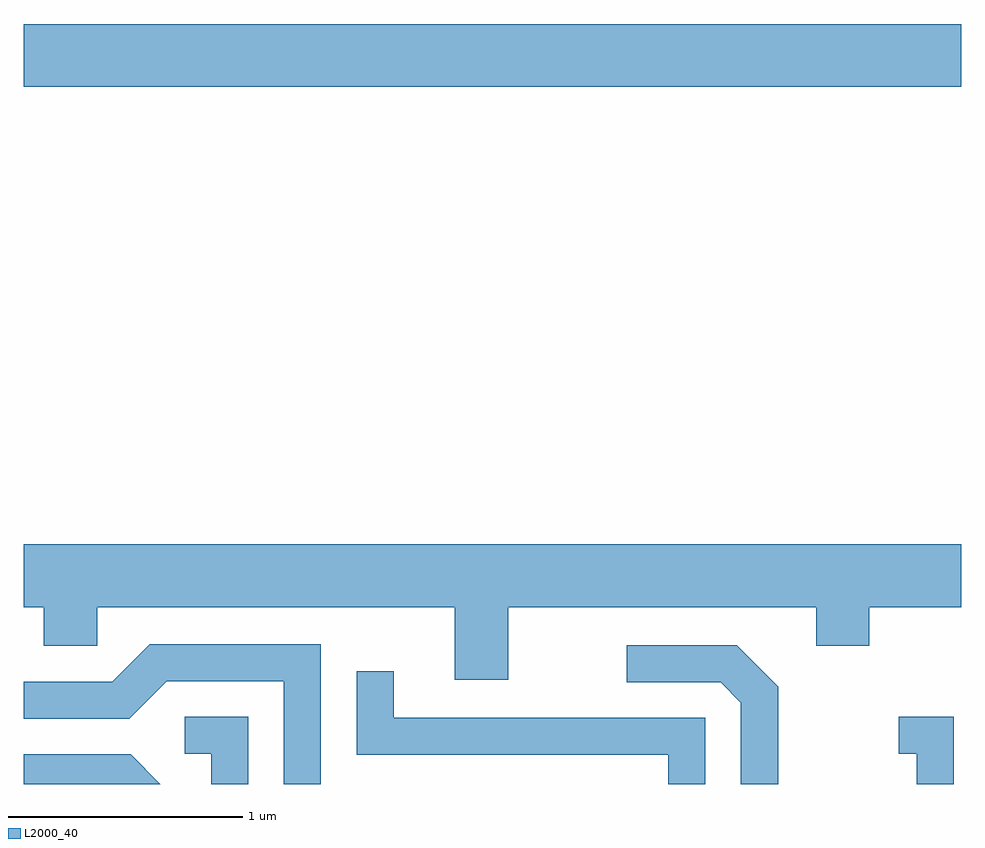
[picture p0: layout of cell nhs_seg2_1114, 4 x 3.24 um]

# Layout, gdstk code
import gdstk
lib = gdstk.Library(unit=1e-6, precision=1e-09)
def R(c, l, rs):  # rectangles x0, y0, x1, y1
    for r in rs: c.add(gdstk.rectangle(r[:2], r[2:], *l))
def P(c, l, *ps):  # polygons
    for p in ps: c.add(gdstk.Polygon(p, *l))
L2000_40 = (2000, 40)

nhs_seg2_1114 = lib.new_cell('nhs_seg2_1114')
R(nhs_seg2_1114, L2000_40, [(217.611,1032.776,221.611,1033.044)])
P(nhs_seg2_1114, L2000_40, [(219.679,1030.556),(220.991,1030.556),(220.991,1030.391),(221.219,1030.391),(221.219,1030.556),(221.611,1030.556),(221.611,1030.824),(217.611,1030.824),(217.611,1030.556),(217.696,1030.556),(217.696,1030.391),(217.924,1030.391),(217.924,1030.556),(219.451,1030.556),(219.451,1030.246),(219.679,1030.246)],
  [(218.879,1030.399),(218.149,1030.399),(217.989,1030.239),(217.611,1030.239),(217.611,1030.081),(218.062,1030.081),(218.222,1030.241),(218.721,1030.241),(218.721,1029.802),(218.879,1029.802)],
  [(220.829,1030.217),(220.652,1030.394),(220.183,1030.394),(220.183,1030.236),(220.584,1030.236),(220.671,1030.149),(220.671,1029.802),(220.829,1029.802)],
  [(220.519,1030.084),(219.189,1030.084),(219.189,1030.283),(219.031,1030.283),(219.031,1029.926),(220.361,1029.926),(220.361,1029.802),(220.519,1029.802)],
  [(218.569,1030.089),(218.298,1030.089),(218.298,1029.931),(218.411,1029.931),(218.411,1029.802),(218.569,1029.802)],
  [(221.579,1030.089),(221.343,1030.089),(221.343,1029.931),(221.421,1029.931),(221.421,1029.802),(221.579,1029.802)],
  [(218.067,1029.929),(217.611,1029.929),(217.611,1029.802),(218.194,1029.802)])

lib.write_gds('nhs_seg2_1114.gds')
